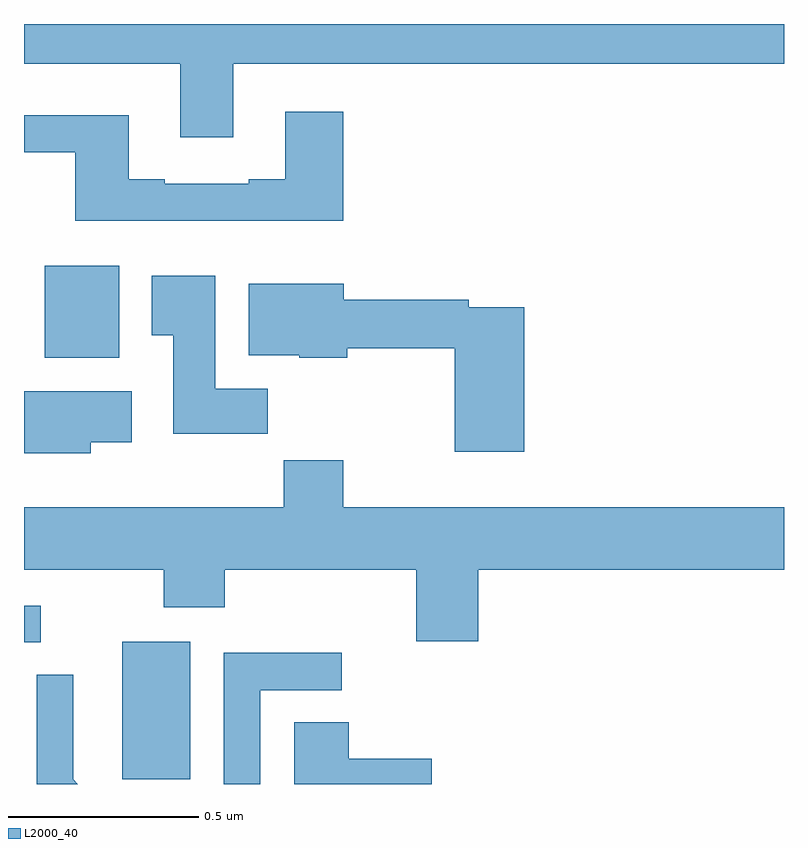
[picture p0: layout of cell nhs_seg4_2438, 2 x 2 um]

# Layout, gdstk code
import gdstk
lib = gdstk.Library(unit=1e-6, precision=1e-09)
def R(c, l, rs):  # rectangles x0, y0, x1, y1
    for r in rs: c.add(gdstk.rectangle(r[:2], r[2:], *l))
def P(c, l, *ps):  # polygons
    for p in ps: c.add(gdstk.Polygon(p, *l))
L2000_40 = (2000, 40)

nhs_seg4_2438 = lib.new_cell('nhs_seg4_2438')
R(nhs_seg4_2438, L2000_40, [(140.258,818.913,140.437,819.274), (140,819.273,140.044,819.369), (140.054,820.022,140.251,820.264)])
P(nhs_seg4_2438, L2000_40, [(140.551,820.796),(142,820.796),(142,820.9),(140,820.9),(140,820.796),(140.411,820.796),(140.411,820.602),(140.551,820.602)],
  [(140.84,820.669),(140.687,820.669),(140.687,820.492),(140.591,820.492),(140.591,820.479),(140.371,820.479),(140.371,820.492),(140.275,820.492),(140.275,820.66),(140,820.66),(140,820.563),(140.135,820.563),(140.135,820.382),(140.84,820.382)],
  [(140.642,819.94),(140.503,819.94),(140.503,820.237),(140.336,820.237),(140.336,820.081),(140.393,820.081),(140.393,819.822),(140.642,819.822)],
  [(141.317,820.155),(141.17,820.155),(141.17,820.175),(140.842,820.175),(140.842,820.216),(140.591,820.216),(140.591,820.028),(140.724,820.028),(140.724,820.022),(140.85,820.022),(140.85,820.047),(141.134,820.047),(141.134,819.774),(141.317,819.774)],
  [(140.176,819.8),(140.284,819.8),(140.284,819.934),(140,819.934),(140,819.77),(140.176,819.77)],
  [(141.196,819.464),(142,819.464),(142,819.628),(140.84,819.628),(140.84,819.752),(140.683,819.752),(140.683,819.628),(140,819.628),(140,819.464),(140.368,819.464),(140.368,819.365),(140.528,819.365),(140.528,819.464),(141.032,819.464),(141.032,819.276),(141.196,819.276)],
  [(140.622,819.147),(140.836,819.147),(140.836,819.246),(140.526,819.246),(140.526,818.9),(140.622,818.9)],
  [(140.129,818.912),(140.129,819.034),(140.13,819.034),(140.13,819.188),(140.034,819.188),(140.034,818.9),(140.141,818.9)],
  [(141.073,818.967),(140.855,818.967),(140.855,819.062),(140.711,819.062),(140.711,818.9),(141.073,818.9)])

lib.write_gds('nhs_seg4_2438.gds')
